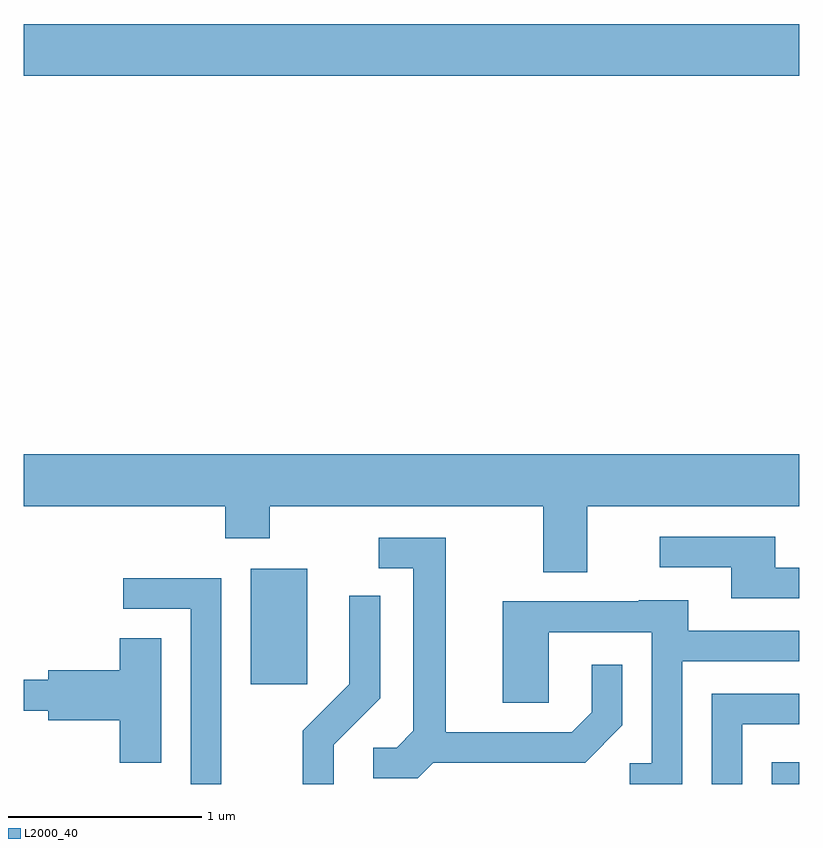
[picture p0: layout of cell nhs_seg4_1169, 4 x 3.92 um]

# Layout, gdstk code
import gdstk
lib = gdstk.Library(unit=1e-6, precision=1e-09)
def R(c, l, rs):  # rectangles x0, y0, x1, y1
    for r in rs: c.add(gdstk.rectangle(r[:2], r[2:], *l))
def P(c, l, *ps):  # polygons
    for p in ps: c.add(gdstk.Polygon(p, *l))
L2000_40 = (2000, 40)

nhs_seg4_1169 = lib.new_cell('nhs_seg4_1169')
R(nhs_seg4_1169, L2000_40, [(223.471,1279.982,223.611,1280.094), (220.781,1280.496,221.074,1281.094), (219.611,1283.636,223.611,1283.904)])
P(nhs_seg4_1169, L2000_40, [(219.611,1281.416),(220.651,1281.416),(220.651,1281.251),(220.879,1281.251),(220.879,1281.416),(222.291,1281.416),(222.291,1281.076),(222.519,1281.076),(222.519,1281.416),(223.611,1281.416),(223.611,1281.684),(219.611,1281.684)],
  [(223.611,1281.099),(223.489,1281.099),(223.489,1281.259),(222.893,1281.259),(222.893,1281.101),(223.261,1281.101),(223.261,1280.941),(223.611,1280.941)],
  [(221.722,1280.091),(222.507,1280.091),(222.699,1280.284),(222.699,1280.598),(222.541,1280.598),(222.541,1280.352),(222.439,1280.249),(221.789,1280.249),(221.789,1281.254),(221.443,1281.254),(221.443,1281.096),(221.621,1281.096),(221.621,1280.257),(221.534,1280.169),(221.413,1280.169),(221.413,1280.011),(221.642,1280.011)],
  [(220.629,1281.044),(220.123,1281.044),(220.123,1280.886),(220.471,1280.886),(220.471,1279.982),(220.629,1279.982)],
  [(221.209,1280.184),(221.449,1280.424),(221.449,1280.953),(221.291,1280.953),(221.291,1280.497),(221.051,1280.257),(221.051,1279.982),(221.209,1279.982)],
  [(223.009,1280.616),(223.611,1280.616),(223.611,1280.774),(223.039,1280.774),(223.039,1280.929),(222.785,1280.929),(222.785,1280.924),(222.081,1280.924),(222.081,1280.401),(222.319,1280.401),(222.319,1280.766),(222.851,1280.766),(222.851,1280.089),(222.738,1280.089),(222.738,1279.982),(223.009,1279.982)],
  [(220.319,1280.734),(220.106,1280.734),(220.106,1280.569),(219.736,1280.569),(219.736,1280.519),(219.611,1280.519),(219.611,1280.361),(219.736,1280.361),(219.736,1280.311),(220.106,1280.311),(220.106,1280.091),(220.319,1280.091)],
  [(223.319,1280.291),(223.611,1280.291),(223.611,1280.449),(223.161,1280.449),(223.161,1279.982),(223.319,1279.982)])

lib.write_gds('nhs_seg4_1169.gds')
